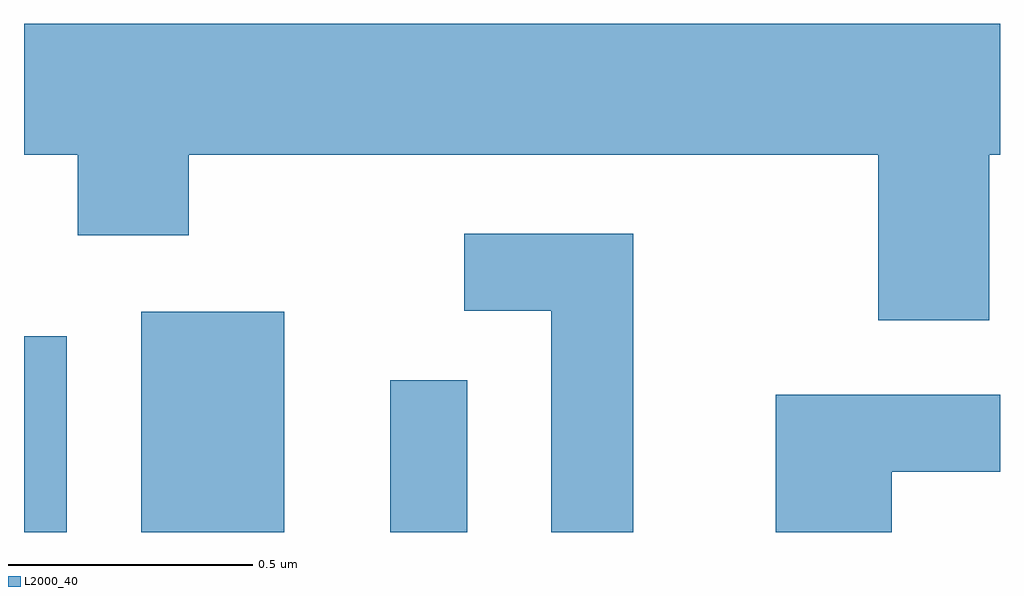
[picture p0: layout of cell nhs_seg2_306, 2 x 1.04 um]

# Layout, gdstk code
import gdstk
lib = gdstk.Library(unit=1e-6, precision=1e-09)
def R(c, l, rs):  # rectangles x0, y0, x1, y1
    for r in rs: c.add(gdstk.rectangle(r[:2], r[2:], *l))
def P(c, l, *ps):  # polygons
    for p in ps: c.add(gdstk.Polygon(p, *l))
L2000_40 = (2000, 40)

nhs_seg2_306 = lib.new_cell('nhs_seg2_306')
R(nhs_seg2_306, L2000_40, [(187.611,1009.802,187.699,1010.204), (187.851,1009.802,188.144,1010.254), (188.361,1009.802,188.519,1010.113)])
P(nhs_seg2_306, L2000_40, [(189.589,1010.576),(189.611,1010.576),(189.611,1010.844),(187.611,1010.844),(187.611,1010.576),(187.721,1010.576),(187.721,1010.411),(187.949,1010.411),(187.949,1010.576),(189.361,1010.576),(189.361,1010.236),(189.589,1010.236)],
  [(188.859,1010.414),(188.513,1010.414),(188.513,1010.256),(188.691,1010.256),(188.691,1009.802),(188.859,1009.802)],
  [(189.389,1009.926),(189.611,1009.926),(189.611,1010.084),(189.151,1010.084),(189.151,1009.802),(189.389,1009.802)])

lib.write_gds('nhs_seg2_306.gds')
